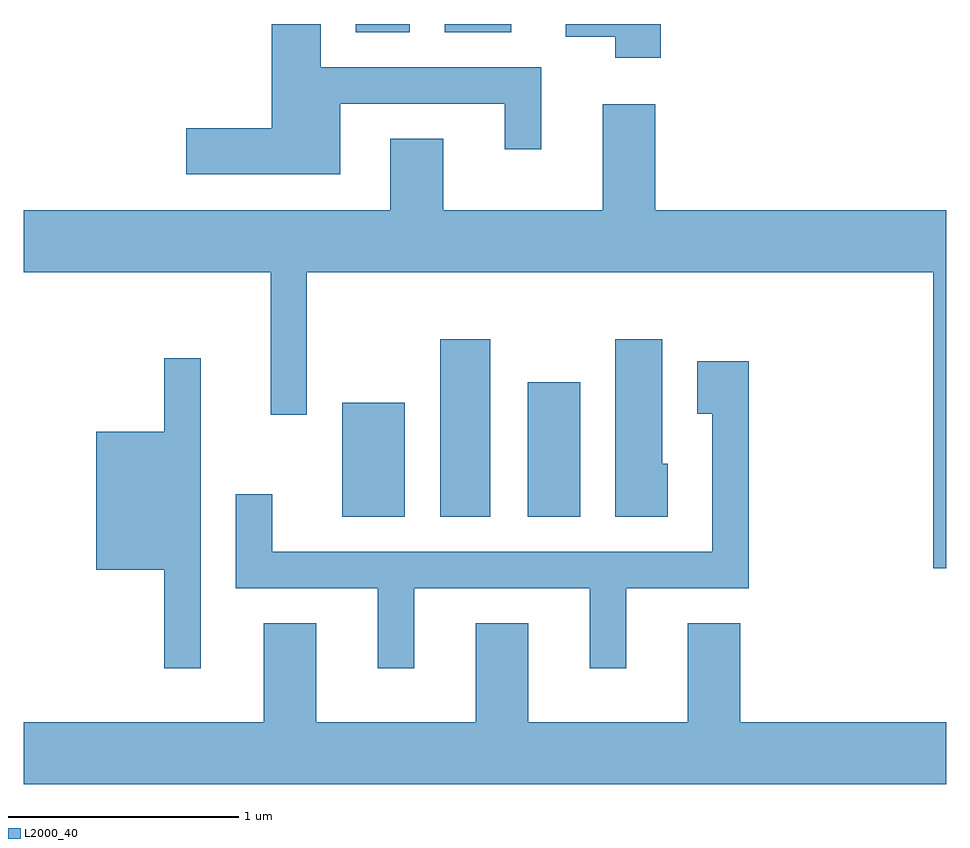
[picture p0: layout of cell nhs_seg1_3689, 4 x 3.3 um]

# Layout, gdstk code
import gdstk
lib = gdstk.Library(unit=1e-6, precision=1e-09)
def R(c, l, rs):  # rectangles x0, y0, x1, y1
    for r in rs: c.add(gdstk.rectangle(r[:2], r[2:], *l))
def P(c, l, *ps):  # polygons
    for p in ps: c.add(gdstk.Polygon(p, *l))
L2000_40 = (2000, 40)

nhs_seg1_3689 = lib.new_cell('nhs_seg1_3689')
R(nhs_seg1_3689, L2000_40, [(296.991,949.576,297.264,950.069), (297.416,949.576,297.634,950.344), (297.796,949.576,298.024,950.159), (297.051,951.676,297.284,951.712), (297.436,951.676,297.724,951.712), (298.886,951.711,299.514,951.712)])
P(nhs_seg1_3689, L2000_40, [(298.374,951.712),(297.961,951.712),(297.961,951.656),(298.176,951.656),(298.176,951.566),(298.374,951.566)],
  [(296.984,951.366),(297.696,951.366),(297.696,951.168),(297.854,951.168),(297.854,951.524),(296.899,951.524),(296.899,951.712),(296.686,951.712),(296.686,951.259),(296.316,951.259),(296.316,951.061),(296.984,951.061)],
  [(299.611,950.904),(298.349,950.904),(298.349,951.364),(298.121,951.364),(298.121,950.904),(297.429,950.904),(297.429,951.214),(297.201,951.214),(297.201,950.904),(295.611,950.904),(295.611,950.636),(296.681,950.636),(296.681,950.018),(296.839,950.018),(296.839,950.636),(299.556,950.636),(299.556,949.351),(299.611,949.351)],
  [(298.404,949.804),(298.379,949.804),(298.379,950.344),(298.176,950.344),(298.176,949.576),(298.404,949.576)],
  [(296.379,950.263),(296.221,950.263),(296.221,949.944),(295.926,949.944),(295.926,949.346),(296.221,949.346),(296.221,948.918),(296.379,948.918)],
  [(297.304,949.266),(298.066,949.266),(298.066,948.918),(298.224,948.918),(298.224,949.266),(298.754,949.266),(298.754,950.249),(298.531,950.249),(298.531,950.021),(298.596,950.021),(298.596,949.424),(296.689,949.424),(296.689,949.673),(296.531,949.673),(296.531,949.266),(297.146,949.266),(297.146,948.918),(297.304,948.918)],
  [(299.611,948.684),(298.719,948.684),(298.719,949.114),(298.491,949.114),(298.491,948.684),(297.799,948.684),(297.799,949.114),(297.571,949.114),(297.571,948.684),(296.879,948.684),(296.879,949.114),(296.651,949.114),(296.651,948.684),(295.611,948.684),(295.611,948.416),(299.611,948.416)])

lib.write_gds('nhs_seg1_3689.gds')
